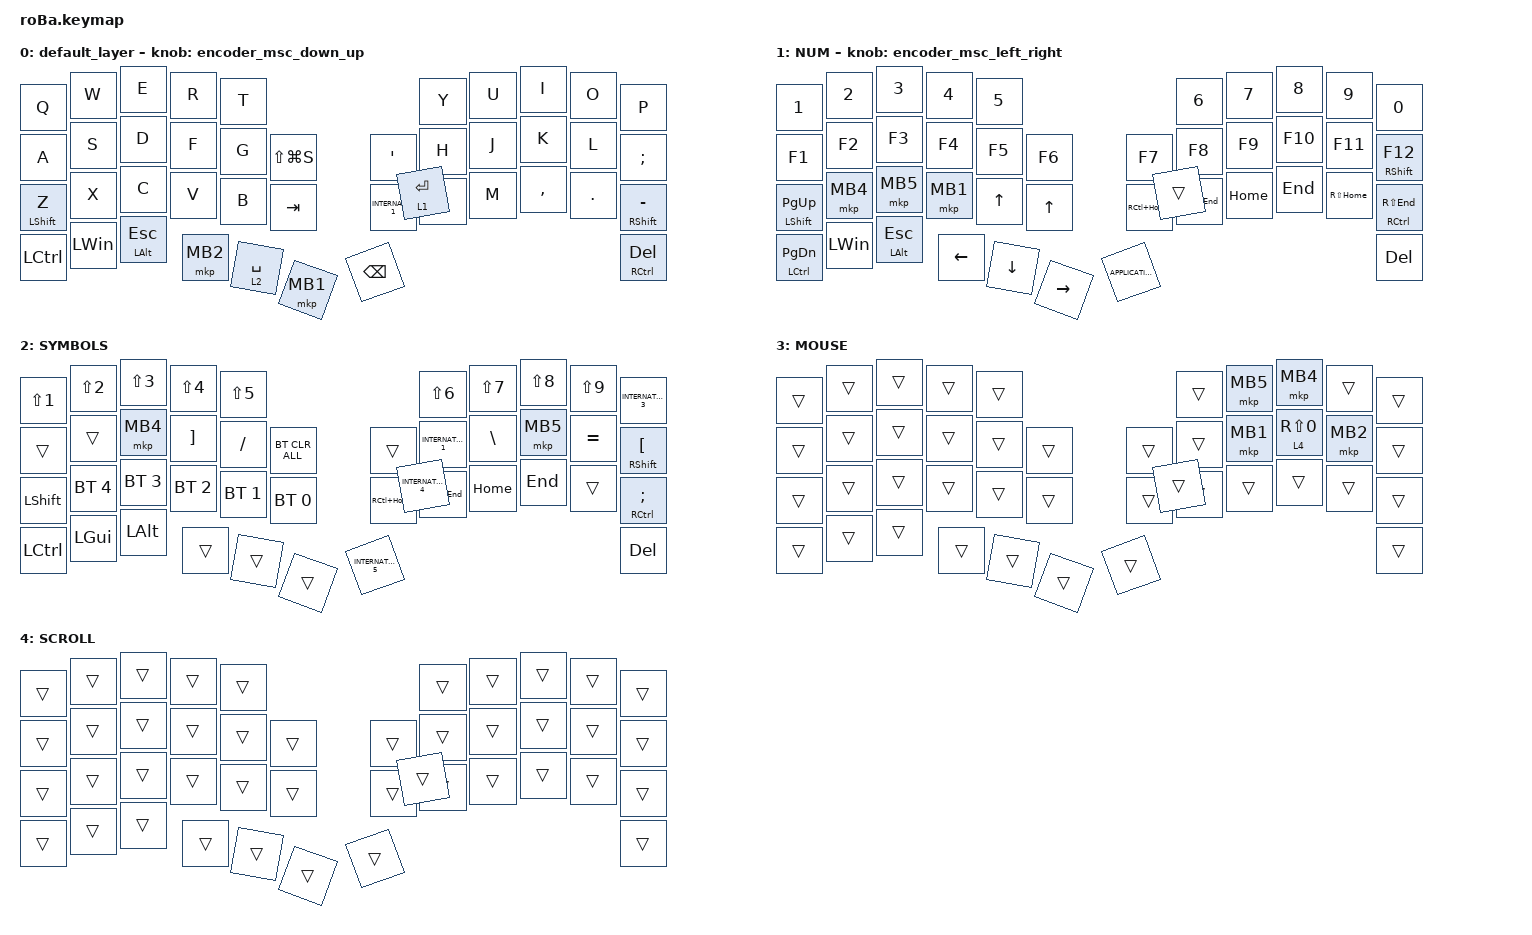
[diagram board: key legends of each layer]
#include <behaviors.dtsi>
#include <dt-bindings/zmk/bt.h>
#include <dt-bindings/zmk/keys.h>
#include <dt-bindings/zmk/pointing.h>

// スクロール量を変更

#define ZMK_POINTING_DEFAULT_SCRL_VAL 80

&mt {
    flavor = "balanced";
    quick-tap-ms = <0>;
    tapping-term-ms = <200>;
};

&trackball {
    // automouse-layer = <4>;

    scroll-layers = <5>;

    // arrows {
    //     layers = <3>;
    //     bindings =
    //         <&kp RIGHT_ARROW>,
    //         <&kp LEFT_ARROW>,
    //         <&kp UP_ARROW>,
    //         <&kp DOWN_ARROW>;
    //     tick = <10>;
    //     wait-ms = <5>;
    //     tap-ms = <5>;
    // };
};

/ {
    combos {
        compatible = "zmk,combos";

        ctrl_shift_HOME {
            bindings = <&kp LS(LC(HOME))>;
            key-positions = <0 1>;
        };

        ctrl_shift_END {
            bindings = <&kp LS(LC(END))>;
            key-positions = <2 3>;
        };

        back {
            bindings = <&mkp MB4>;
            key-positions = <10 11>;
        };

        next {
            bindings = <&mkp MB5>;
            key-positions = <12 13>;
        };
    };

    macros {
        to_layer_0: to_layer_0 {
            compatible = "zmk,behavior-macro-one-param";
            #binding-cells = <1>;
            bindings = <&to 0 &macro_param_1to1 &kp MACRO_PLACEHOLDER>;
            label = "TO_LAYER_0";
        };

        double_click: macro_double_click {
            compatible = "zmk,behavior-macro";
            #binding-cells = <0>;
            bindings = <&mkp MB1>, <&macro_wait_time 50>, <&mkp MB1>;

            label = "MACRO_DOUBLE_CLICK";
        };

        bluetooth_pairing: bluetooth_pairing {
            compatible = "zmk,behavior-macro";
            #binding-cells = <0>;
            bindings = <&none>;
            label = "BLUETOOTH_PAIRING";
        };
    };

    behaviors {
        lt_to_layer_0: lt_to_layer_0 {
            compatible = "zmk,behavior-hold-tap";
            label = "LAYER_TAP_TO_0";
            bindings = <&mo>, <&to_layer_0>;

            #binding-cells = <2>;
            tapping-term-ms = <200>;
        };

        // 上下スクロール動作の追加

        encoder_msc_down_up: encoder_msc_down_up {
            compatible = "zmk,behavior-sensor-rotate";
            label = "ENCODER_MSC_DOWN_UP";
            #sensor-binding-cells = <0>;
            bindings = <&msc SCRL_DOWN>, <&msc SCRL_UP>;

            // スクロールのタップ時間を設定 (20ms)

            tap-ms = <20>;
        };

        // 左右スクロール動作の追加

        encoder_msc_left_right: encoder_msc_left_right {
            compatible = "zmk,behavior-sensor-rotate";
            label = "ENCODER_MSC_LEFT_RIGHT";
            #sensor-binding-cells = <0>;
            bindings = <&msc SCRL_LEFT>, <&msc SCRL_RIGHT>;

            // スクロールのタップ時間を設定 (20ms)

            tap-ms = <20>;
        };
    };

    keymap {
        compatible = "zmk,keymap";
        tap-ms = <50>;

        default_layer {
            bindings = <
&kp Q             &kp W         &kp E                &kp R     &kp T                                                &kp Y        &kp U  &kp I      &kp O    &kp P
&kp A             &kp S         &kp D                &kp F     &kp G        &kp LS(LG(S))      &kp SQT              &kp H        &kp J  &kp K      &kp L    &kp SEMI
&mt LEFT_SHIFT Z  &kp X         &kp C                &kp V     &kp B        &kp TAB            &kp INTERNATIONAL_1  &kp N        &kp M  &kp COMMA  &kp DOT  &mt RIGHT_SHIFT MINUS
&kp LCTRL         &kp LEFT_WIN  &mt LEFT_ALT ESCAPE  &mkp MB2  &lt 2 SPACE  &mkp MB1           &kp BACKSPACE        &lt 1 ENTER                             &mt RIGHT_CONTROL DEL
            >;

            sensor-bindings = <&encoder_msc_down_up>;
        };

        NUM {
            bindings = <
&kp NUMBER_1                &kp NUMBER_2  &kp NUMBER_3         &kp NUMBER_4  &kp NUMBER_5                                       &kp NUMBER_6  &kp NUMBER_7  &kp NUMBER_8  &kp NUMBER_9  &kp NUMBER_0
&kp F1                      &kp F2        &kp F3               &kp F4        &kp F5        &kp F6            &kp F7             &kp F8        &kp F9        &kp F10       &kp F11       &mt RIGHT_SHIFT F12
&mt LEFT_SHIFT PAGE_UP      &mkp MB4      &mkp MB5             &mkp MB1      &kp UP        &kp UP_ARROW      &kp RC(HOME)       &kp RC(END)   &kp HOME      &kp END       &kp RS(HOME)  &mt RIGHT_CONTROL RS(END)
&mt LEFT_CONTROL PAGE_DOWN  &kp LEFT_WIN  &mt LEFT_ALT ESCAPE  &kp LEFT      &kp DOWN      &kp RIGHT         &kp K_APPLICATION  &trans                                                  &kp DELETE
            >;

            sensor-bindings = <&encoder_msc_left_right>;
        };

        SYMBOLS {
            bindings = <
&kp LS(NUMBER_1)  &kp LS(NUMBER_2)  &kp LS(NUMBER_3)  &kp LS(NUMBER_4)   &kp LS(NUMBER_5)                                           &kp LS(NUMBER_6)     &kp LS(NUMBER_7)  &kp LS(NUMBER_8)  &kp LS(NUMBER_9)  &kp INTERNATIONAL_3
&trans            &trans            &mkp MB4          &kp RIGHT_BRACKET  &kp SLASH         &bt BT_CLR_ALL      &trans               &kp INTERNATIONAL_1  &kp BACKSLASH     &mkp MB5          &kp EQUAL         &mt RIGHT_SHIFT LEFT_BRACKET
&kp LEFT_SHIFT    &bt BT_SEL 4      &bt BT_SEL 3      &bt BT_SEL 2       &bt BT_SEL 1      &bt BT_SEL 0        &kp RC(HOME)         &kp RC(END)          &kp HOME          &kp END           &trans            &mt RIGHT_CONTROL SEMI
&kp LEFT_CONTROL  &kp LEFT_GUI      &kp LEFT_ALT      &trans             &trans            &trans              &kp INTERNATIONAL_5  &kp INTERNATIONAL_4                                                        &kp DELETE
            >;
        };

        MOUSE {
            bindings = <
&trans  &trans  &trans  &trans  &trans                      &trans  &mkp MB5  &mkp MB4            &trans    &trans
&trans  &trans  &trans  &trans  &trans  &trans      &trans  &trans  &mkp MB1  &lt 4 RS(NUMBER_0)  &mkp MB2  &trans
&trans  &trans  &trans  &trans  &trans  &trans      &trans  &trans  &trans    &trans              &trans    &trans
&trans  &trans  &trans  &trans  &trans  &trans      &trans  &trans                                          &trans
            >;
        };

        SCROLL {
            bindings = <
&trans  &trans  &trans  &trans  &trans                      &trans  &trans  &trans  &trans  &trans
&trans  &trans  &trans  &trans  &trans  &trans      &trans  &trans  &trans  &trans  &trans  &trans
&trans  &trans  &trans  &trans  &trans  &trans      &trans  &trans  &trans  &trans  &trans  &trans
&trans  &trans  &trans  &trans  &trans  &trans      &trans  &trans                          &trans
            >;
        };
    };
};
